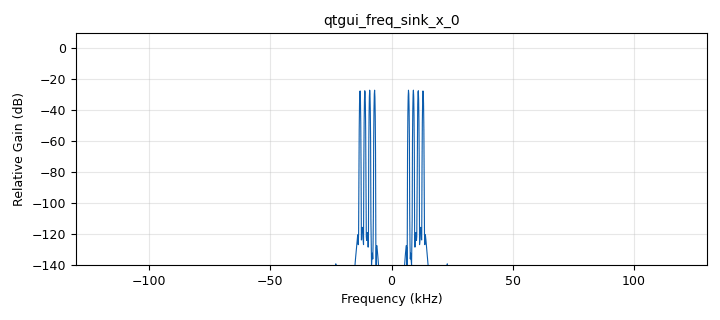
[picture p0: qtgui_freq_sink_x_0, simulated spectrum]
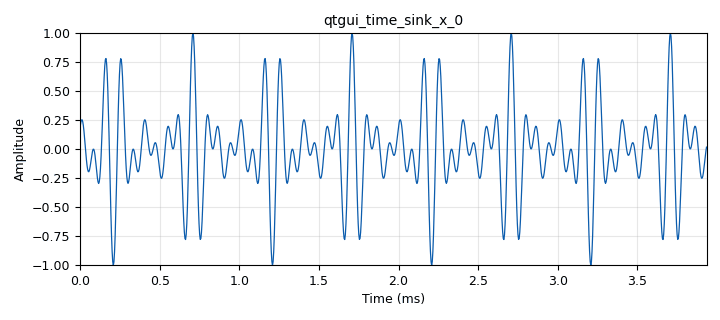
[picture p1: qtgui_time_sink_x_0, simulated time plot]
options:
  parameters:
    generate_options: qt_gui
    id: Lab1_punto4
    output_language: python
    title: laboratorio1_punto4_multiplicacion
  states: {}

blocks:
- name: frequency_a
  id: variable_qtgui_range
  parameters:
    label: FrecuenciaA
    orient: Qt.Horizontal
    start: '1000'
    step: '1000'
    stop: '400000'
    value: '50000'
  states: {}
- name: frequency_b
  id: variable_qtgui_range
  parameters:
    label: FrecuenciaB
    orient: Qt.Horizontal
    start: '1000'
    step: '1000'
    stop: '800000'
    value: '777600'
  states: {}
- name: frequency_c
  id: variable_qtgui_range
  parameters:
    label: FrecuenciaC
    orient: Qt.Horizontal
    start: '10'
    step: '10'
    stop: '40000'
    value: '25'
  states: {}
- name: samp_rate
  id: variable_qtgui_range
  parameters:
    label: frecuencia de muestreo
    orient: Qt.Horizontal
    start: '1000'
    step: '1000'
    stop: '2600000'
    value: '260000'
  states: {}
- name: analog_sig_source_x_0
  id: analog_sig_source_x
  parameters:
    amp: '1'
    freq: '10000'
    offset: '0'
    phase: '0'
    samp_rate: samp_rate
    type: float
    waveform: analog.GR_COS_WAVE
  states: {}
- name: analog_sig_source_x_0_0
  id: analog_sig_source_x
  parameters:
    amp: '1'
    freq: '2000'
    offset: '0'
    phase: '0'
    samp_rate: samp_rate
    type: float
    waveform: analog.GR_COS_WAVE
  states: {}
- name: analog_sig_source_x_0_0_0
  id: analog_sig_source_x
  parameters:
    amp: '1'
    freq: '1000'
    offset: '0'
    phase: '0'
    samp_rate: samp_rate
    type: float
    waveform: analog.GR_COS_WAVE
  states: {}
- name: blocks_multiply_xx_0
  id: blocks_multiply_xx
  parameters:
    num_inputs: '3'
    type: float
  states: {}
- name: blocks_throttle_0
  id: blocks_throttle
  parameters:
    samples_per_second: samp_rate
    type: float
  states: {}
- name: qtgui_freq_sink_x_0
  id: qtgui_freq_sink_x
  parameters:
    bw: samp_rate
    fc: '0'
    fftsize: '2048'
    type: float
    wintype: firdes.WIN_BLACKMAN_hARRIS
  states: {}
- name: qtgui_time_sink_x_0
  id: qtgui_time_sink_x
  parameters:
    size: '1024'
    srate: samp_rate
    type: float
  states: {}

connections:
- [analog_sig_source_x_0, '0', blocks_multiply_xx_0, '0']
- [analog_sig_source_x_0_0, '0', blocks_multiply_xx_0, '2']
- [analog_sig_source_x_0_0_0, '0', blocks_multiply_xx_0, '1']
- [blocks_multiply_xx_0, '0', blocks_throttle_0, '0']
- [blocks_throttle_0, '0', qtgui_freq_sink_x_0, '0']
- [blocks_throttle_0, '0', qtgui_time_sink_x_0, '0']

metadata:
  file_format: 1
